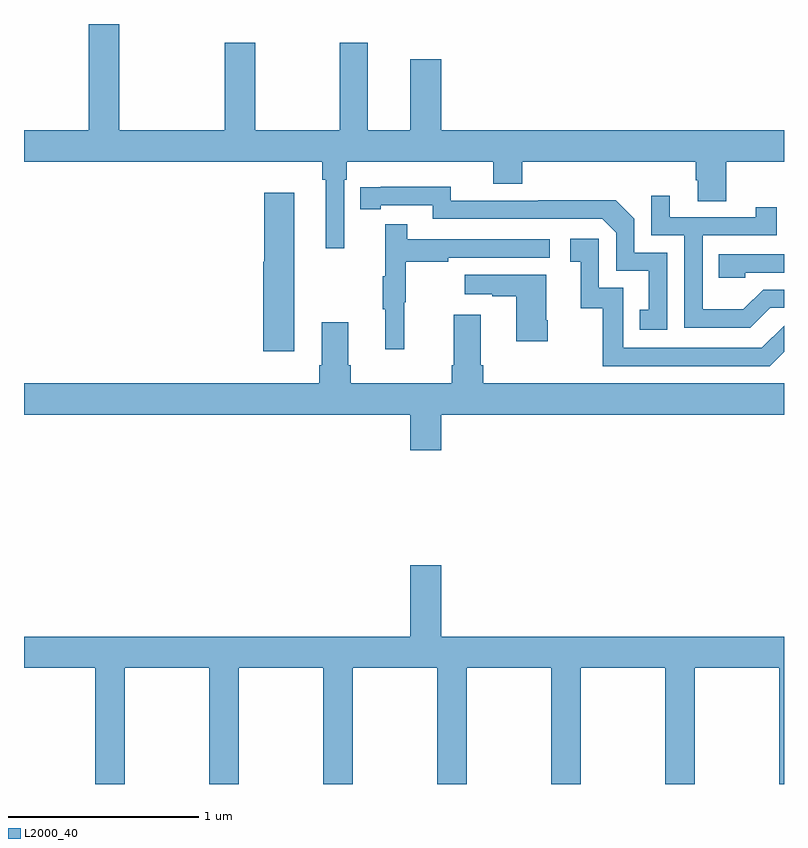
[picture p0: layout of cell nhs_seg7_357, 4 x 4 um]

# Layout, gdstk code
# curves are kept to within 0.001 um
import gdstk
lib = gdstk.Library(unit=1e-6, precision=1e-09)
def P(c, l, *ps):  # polygons
    for p in ps: c.add(gdstk.Polygon(p, *l))
L2000_40 = (2000, 40)

nhs_seg7_357 = lib.new_cell('nhs_seg7_357')
P(nhs_seg7_357, L2000_40, [(140.685,1007.18),(140.699,1007.18),(140.699,1007.276),(141.47,1007.276),(141.47,1007.159),(141.623,1007.159),(141.623,1007.276),(142.535,1007.276),(142.535,1007.178),(142.547,1007.178),(142.547,1007.068),(142.695,1007.068),(142.695,1007.276),(143,1007.276),(143,1007.44),(141.196,1007.44),(141.196,1007.815),(141.032,1007.815),(141.032,1007.44),(140.809,1007.44),(140.809,1007.902),(140.662,1007.902),(140.662,1007.44),(140.217,1007.44),(140.217,1007.902),(140.057,1007.902),(140.057,1007.44),(139.502,1007.44),(139.502,1008),(139.342,1008),(139.342,1007.44),(139,1007.44),(139,1007.276),(140.569,1007.276),(140.569,1007.18),(140.588,1007.18),(140.588,1006.821),(140.685,1006.821)],
  [(142.386,1006.797),(142.212,1006.797),(142.212,1006.974),(142.114,1007.072),(141.706,1007.072),(141.706,1007.07),(141.246,1007.07),(141.246,1007.143),(140.77,1007.142),(140.77,1007.026),(140.878,1007.026),(140.878,1007.046),(141.15,1007.046),(141.15,1006.974),(142.044,1006.974),(142.116,1006.902),(142.116,1006.701),(142.289,1006.701),(142.289,1006.497),(142.24,1006.497),(142.24,1006.392),(142.386,1006.392)],
  [(140.422,1007.113),(140.264,1007.113),(140.264,1006.749),(140.258,1006.749),(140.258,1006.278),(140.422,1006.278)],
  [(142.927,1006.506),(143,1006.506),(143,1006.602),(142.89,1006.602),(142.786,1006.498),(142.572,1006.498),(142.572,1006.887),(142.961,1006.887),(142.961,1007.035),(142.85,1007.035),(142.85,1006.983),(142.399,1006.983),(142.399,1007.095),(142.302,1007.095),(142.302,1006.887),(142.476,1006.887),(142.476,1006.401),(142.822,1006.401)],
  [(141.002,1006.536),(141.01,1006.536),(141.01,1006.75),(141.233,1006.75),(141.233,1006.77),(141.766,1006.77),(141.766,1006.866),(141.017,1006.866),(141.017,1006.945),(140.9,1006.945),(140.9,1006.673),(140.889,1006.673),(140.889,1006.499),(140.9,1006.499),(140.9,1006.287),(141.002,1006.287)],
  [(143,1006.274),(143,1006.412),(142.884,1006.296),(142.155,1006.296),(142.155,1006.611),(142.026,1006.611),(142.026,1006.87),(141.876,1006.87),(141.876,1006.749),(141.929,1006.749),(141.929,1006.503),(142.047,1006.503),(142.047,1006.2),(142.926,1006.2)],
  [(142.797,1006.692),(143,1006.692),(143,1006.788),(142.657,1006.788),(142.657,1006.665),(142.797,1006.665)],
  [(141.756,1006.441),(141.748,1006.441),(141.748,1006.681),(141.321,1006.681),(141.321,1006.577),(141.464,1006.577),(141.464,1006.567),(141.59,1006.567),(141.59,1006.329),(141.756,1006.329)],
  [(141.196,1005.944),(143,1005.944),(143,1006.108),(141.416,1006.108),(141.416,1006.204),(141.403,1006.204),(141.403,1006.471),(141.263,1006.471),(141.263,1006.204),(141.251,1006.204),(141.251,1006.108),(140.72,1006.108),(140.72,1006.204),(140.707,1006.204),(140.707,1006.429),(140.567,1006.429),(140.567,1006.204),(140.555,1006.204),(140.555,1006.108),(139,1006.108),(139,1005.944),(141.032,1005.944),(141.032,1005.756),(141.196,1005.756)],
  [(139.53,1004.612),(139.975,1004.612),(139.975,1004),(140.13,1004),(140.13,1004.612),(140.575,1004.612),(140.575,1004),(140.73,1004),(140.73,1004.612),(141.175,1004.612),(141.175,1004),(141.33,1004),(141.33,1004.612),(141.775,1004.612),(141.775,1004),(141.93,1004),(141.93,1004.612),(142.375,1004.612),(142.375,1004),(142.53,1004),(142.53,1004.612),(142.975,1004.612),(142.975,1004),(143,1004),(143,1004.776),(141.196,1004.776),(141.196,1005.151),(141.032,1005.151),(141.032,1004.776),(139,1004.776),(139,1004.612),(139.375,1004.612),(139.375,1004),(139.53,1004)])

lib.write_gds('nhs_seg7_357.gds')
